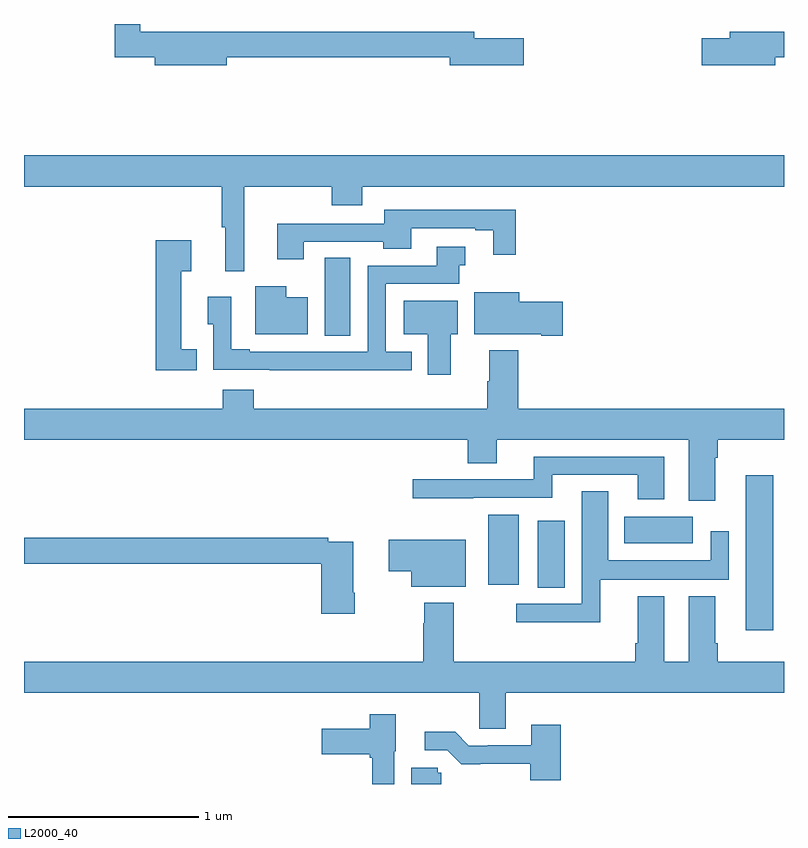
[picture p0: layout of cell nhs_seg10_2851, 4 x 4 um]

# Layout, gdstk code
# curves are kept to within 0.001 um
import gdstk
lib = gdstk.Library(unit=1e-6, precision=1e-09)
def R(c, l, rs):  # rectangles x0, y0, x1, y1
    for r in rs: c.add(gdstk.rectangle(r[:2], r[2:], *l))
def P(c, l, *ps):  # polygons
    for p in ps: c.add(gdstk.Polygon(p, *l))
L2000_40 = (2000, 40)

nhs_seg10_2851 = lib.new_cell('nhs_seg10_2851')
R(nhs_seg10_2851, L2000_40, [(268.799,1303.308,268.944,1304.125), (267.704,1303.534,267.847,1303.885), (267.443,1303.548,267.604,1303.918), (268.16,1303.766,268.519,1303.906), (266.582,1304.86,266.716,1305.269)])
P(nhs_seg10_2851, L2000_40, [(266.068,1306.324),(267.242,1306.324),(267.242,1306.282),(267.631,1306.282),(267.631,1306.424),(267.37,1306.424),(267.37,1306.46),(265.613,1306.46),(265.613,1306.5),(265.477,1306.5),(265.477,1306.324),(265.688,1306.324),(265.688,1306.282),(266.068,1306.282)],
  [(268.954,1306.324),(269,1306.324),(269,1306.46),(268.715,1306.46),(268.715,1306.424),(268.566,1306.424),(268.566,1306.282),(268.954,1306.282)],
  [(266.158,1305.644),(266.62,1305.644),(266.62,1305.545),(266.78,1305.545),(266.78,1305.644),(269,1305.644),(269,1305.808),(265,1305.808),(265,1305.644),(266.041,1305.644),(266.041,1305.429),(266.06,1305.429),(266.06,1305.198),(266.158,1305.198)],
  [(266.473,1305.354),(266.89,1305.354),(266.89,1305.317),(267.037,1305.317),(267.037,1305.426),(267.374,1305.426),(267.374,1305.414),(267.47,1305.414),(267.47,1305.285),(267.587,1305.285),(267.587,1305.522),(266.897,1305.522),(266.897,1305.45),(266.333,1305.45),(266.333,1305.261),(266.473,1305.261)],
  [(265.91,1304.788),(265.828,1304.788),(265.828,1305.199),(265.879,1305.199),(265.879,1305.361),(265.694,1305.361),(265.694,1304.678),(265.91,1304.678)],
  [(267.04,1304.775),(266.904,1304.775),(266.904,1305.132),(267.29,1305.132),(267.29,1305.23),(267.322,1305.23),(267.322,1305.327),(267.173,1305.327),(267.173,1305.228),(266.808,1305.228),(266.808,1304.775),(266.188,1304.775),(266.188,1304.788),(266.091,1304.788),(266.091,1305.064),(265.967,1305.064),(265.967,1304.919),(265.995,1304.919),(265.995,1304.679),(266.293,1304.679),(266.293,1304.678),(267.04,1304.678)],
  [(266.494,1305.061),(266.38,1305.061),(266.38,1305.121),(266.216,1305.121),(266.216,1304.867),(266.494,1304.867)],
  [(267.835,1305.038),(267.607,1305.038),(267.607,1305.088),(267.371,1305.088),(267.371,1304.867),(267.722,1304.867),(267.722,1304.86),(267.835,1304.86)],
  [(267.247,1304.867),(267.283,1304.867),(267.283,1305.043),(266.999,1305.043),(266.999,1304.867),(267.125,1304.867),(267.125,1304.655),(267.247,1304.655)],
  [(268.639,1304.216),(268.652,1304.216),(268.652,1304.312),(269,1304.312),(269,1304.476),(267.602,1304.476),(267.602,1304.782),(267.449,1304.782),(267.449,1304.621),(267.437,1304.621),(267.437,1304.476),(266.21,1304.476),(266.21,1304.575),(266.045,1304.575),(266.045,1304.476),(265,1304.476),(265,1304.312),(267.335,1304.312),(267.335,1304.188),(267.487,1304.188),(267.487,1304.312),(268.499,1304.312),(268.499,1303.992),(268.639,1303.992)],
  [(268.369,1304.223),(267.683,1304.223),(267.683,1304.103),(267.045,1304.103),(267.045,1304.005),(267.365,1304.005),(267.365,1304.007),(267.781,1304.007),(267.781,1304.127),(268.229,1304.127),(268.229,1303.998),(268.369,1303.998)],
  [(268.034,1303.574),(268.71,1303.574),(268.71,1303.831),(268.614,1303.831),(268.614,1303.678),(268.075,1303.678),(268.075,1304.042),(267.935,1304.042),(267.935,1303.449),(267.591,1303.449),(267.591,1303.352),(268.034,1303.352)],
  [(266.742,1303.507),(266.734,1303.507),(266.734,1303.776),(266.6,1303.776),(266.6,1303.796),(265,1303.796),(265,1303.66),(266.564,1303.66),(266.564,1303.395),(266.742,1303.395)],
  [(267.325,1303.786),(266.919,1303.786),(266.919,1303.621),(267.038,1303.621),(267.038,1303.538),(267.325,1303.538)],
  [(267.535,1302.98),(269,1302.98),(269,1303.144),(268.652,1303.144),(268.652,1303.24),(268.639,1303.24),(268.639,1303.489),(268.499,1303.489),(268.499,1303.144),(268.369,1303.144),(268.369,1303.489),(268.229,1303.489),(268.229,1303.24),(268.217,1303.24),(268.217,1303.144),(267.261,1303.144),(267.261,1303.453),(267.106,1303.453),(267.106,1303.346),(267.101,1303.346),(267.101,1303.144),(265,1303.144),(265,1302.98),(267.396,1302.98),(267.396,1302.79),(267.535,1302.79)],
  [(266.949,1302.672),(266.956,1302.672),(266.956,1302.868),(266.82,1302.868),(266.82,1302.79),(266.568,1302.79),(266.568,1302.656),(266.82,1302.656),(266.82,1302.638),(266.833,1302.638),(266.833,1302.5),(266.949,1302.5)],
  [(267.824,1302.811),(267.671,1302.811),(267.671,1302.705),(267.442,1302.705),(267.442,1302.702),(267.342,1302.702),(267.269,1302.775),(267.108,1302.775),(267.108,1302.678),(267.228,1302.678),(267.301,1302.605),(267.664,1302.606),(267.664,1302.521),(267.824,1302.521)],
  [(267.196,1302.558),(267.177,1302.558),(267.177,1302.585),(267.038,1302.585),(267.038,1302.5),(267.196,1302.5)])

lib.write_gds('nhs_seg10_2851.gds')
